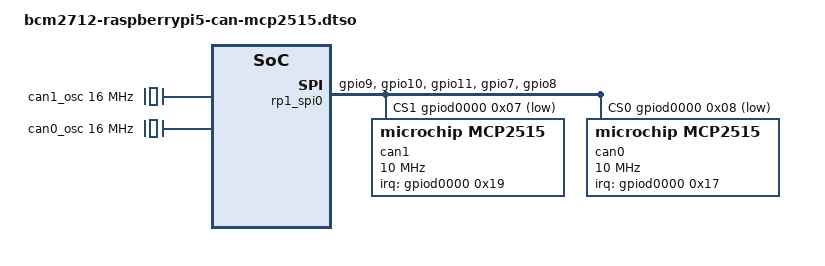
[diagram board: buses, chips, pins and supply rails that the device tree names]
/*
 * Copyright (c) 2025 EPAM systems
 *
 * SPDX-License-Identifier: Apache-2.0
*/
/dts-v1/;
/plugin/;

&passthrough {
	can1_osc: can1_osc {
		#clock-cells = <0x00>;
		clock-frequency = <0xf42400>;
		compatible = "fixed-clock";
	};

	can0_osc: can0_osc {
		#clock-cells = <0x00>;
		clock-frequency = <0xf42400>;
		compatible = "fixed-clock";
	};
};


&gpiod0000 {
	can1_pins: can1_pins {
		brcm,function = <0x00>;
		brcm,pins = <0x19>;
	};

	can0_pins: can0_pins {
		brcm,function = <0x00>;
		brcm,pins = <0x17>;
	};

	spi0_pins: rp1_spi0_gpio9 {
		function = "spi0";
		pins = "gpio9", "gpio10", "gpio11";
		drive-strength = <0x0c>;
		bias-disable;
		slew-rate = <0x01>;
	};

	spi0_cs_pins: rp1_spi0_cs_gpio7 {
		function = "spi0";
		pins = "gpio7", "gpio8";
		bias-pull-up;
	};
};

&rp1 {
	rp1_dma: dma@188000 {
		snps,data-width = <0x04>;
		snps,priority = <0x00 0x01 0x02 0x03 0x04 0x05 0x06 0x07>;
		clock-names = "core-clk", "cfgr-clk";
		interrupts = <0x28 0x04>;
		clocks = <&clocks18000 0x0e &clocks18000 0x0c>;
		snps,axi-max-burst-len = <0x04>;
		snps,dma-masters = <0x01>;
		compatible = "snps,axi-dma-1.01a";
		status = "okay";
		snps,block-size = <0x40000 0x40000 0x40000 0x40000 0x40000 0x40000 0x40000 0x40000>;
		reg = <0xc0 0x40188000 0x00 0x1000>;
		snps,dma-targets = <0x40>;
		dma-channels = <0x08>;
		#dma-cells = <0x01>;
	};

	rp1_spi0: spi@50000 {
		pinctrl-names = "default";
		#address-cells = <0x01>;
		num-cs = <0x02>;
		pinctrl-0 = <&spi0_pins>, <&spi0_cs_pins>;
		clock-names = "ssi_clk";
		interrupts = <0x13 0x04>;
		clocks = <&clocks18000 0x0c>;
		#size-cells = <0x00>;
		dma-names = "tx", "rx";
		compatible = "snps,dw-apb-ssi";
		status = "okay";
		reg = <0xc0 0x40050000 0x00 0x130>;
		dmas = <&rp1_dma 0x0d>,
		       <&rp1_dma 0x0c>;
		cs-gpios = <&gpiod0000 0x08 0x01>, <&gpiod0000 0x07 0x01>;

		can1: mcp2515@1 {
			pinctrl-names = "default";
			pinctrl-0 = <&can1_pins>;
			interrupts = <0x19 0x08>;
			clocks = <&can1_osc>;
			spi-max-frequency = <0x989680>;
			interrupt-parent = <&gpiod0000>;
			compatible = "microchip,mcp2515";
			reg = <0x01>;
		};

		can0: mcp2515@0 {
			pinctrl-names = "default";
			pinctrl-0 = <&can0_pins>;
			interrupts = <0x17 0x08>;
			clocks = <&can0_osc>;
			spi-max-frequency = <0x989680>;
			interrupt-parent = <&gpiod0000>;
			compatible = "microchip,mcp2515";
			reg = <0x00>;
		};
	};
};
